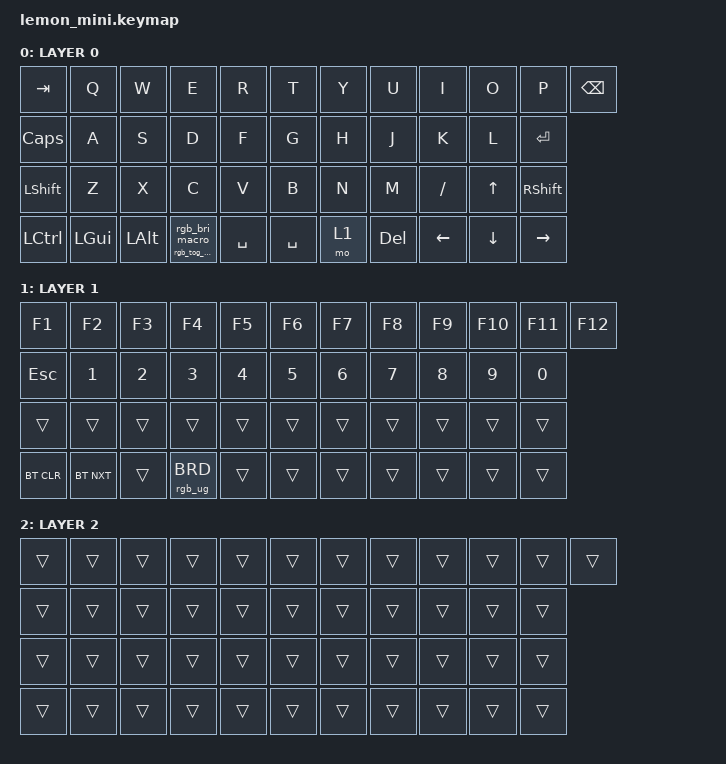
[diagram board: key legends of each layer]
/*
 * Copyright (c) 2020 The ZMK Contributors
 *
 * SPDX-License-Identifier: MIT
 */

#include <behaviors.dtsi>
#include <dt-bindings/zmk/bt.h>
#include <dt-bindings/zmk/keys.h>
#include <dt-bindings/zmk/rgb.h>

/ {
    macros {
        rgb_bri_macro: rgb_bri_macro {
            compatible = "zmk,behavior-macro";
            #binding-cells = <0>;
            bindings = <&rgb_ug RGB_BRI>;
            label = "RGB_BRI_MACRO";
        };

        rgb_tog_macro: rgb_tog_macro {
            compatible = "zmk,behavior-macro";
            #binding-cells = <0>;
            bindings = <&rgb_ug RGB_TOG>;
            label = "RGB_TOG_MACRO";
        };
    };

    behaviors {
        rgb_ht: rgb_ht {
            compatible = "zmk,behavior-hold-tap";
            label = "RGB_HT";
            bindings = <&rgb_tog_macro>, <&rgb_bri_macro>;

            #binding-cells = <2>;
            tapping-term-ms = <200>;
            flavor = "tap-preferred";
        };
    };

    keymap {
        compatible = "zmk,keymap";

        LAYER0 {
            bindings = <
&kp TAB    &kp Q     &kp W     &kp E        &kp R      &kp T      &kp Y  &kp U       &kp I     &kp O     &kp P      &kp BSPC
&kp CAPS   &kp A     &kp S     &kp D        &kp F      &kp G      &kp H  &kp J       &kp K     &kp L     &kp ENTER
&kp LSHFT  &kp Z     &kp X     &kp C        &kp V      &kp B      &kp N  &kp M       &kp FSLH  &kp UP    &kp RSHFT
&kp LCTRL  &kp LGUI  &kp LALT  &rgb_ht 0 0  &kp SPACE  &kp SPACE  &mo 1  &kp DELETE  &kp LEFT  &kp DOWN  &kp RIGHT
            >;

            display-name = "LAYER 0";
        };

        LAYER1 {
            bindings = <
&kp F1      &kp F2      &kp F3  &kp F4           &kp F5  &kp F6  &kp F7  &kp F8  &kp F9  &kp F10  &kp F11  &kp F12
&kp ESC     &kp N1      &kp N2  &kp N3           &kp N4  &kp N5  &kp N6  &kp N7  &kp N8  &kp N9   &kp N0
&trans      &trans      &trans  &trans           &trans  &trans  &trans  &trans  &trans  &trans   &trans
&bt BT_CLR  &bt BT_NXT  &trans  &rgb_ug RGB_BRD  &trans  &trans  &trans  &trans  &trans  &trans   &trans
            >;

            display-name = "LAYER 1";
        };

        LAYER2 {
            bindings = <
&trans  &trans  &trans  &trans  &trans  &trans  &trans  &trans  &trans  &trans  &trans  &trans
&trans  &trans  &trans  &trans  &trans  &trans  &trans  &trans  &trans  &trans  &trans
&trans  &trans  &trans  &trans  &trans  &trans  &trans  &trans  &trans  &trans  &trans
&trans  &trans  &trans  &trans  &trans  &trans  &trans  &trans  &trans  &trans  &trans
            >;

            display-name = "LAYER 2";
        };

        extra1 {
            status = "reserved";
            display-name = "LAYER 3";
        };

        extra2 {
            status = "reserved";
            display-name = "LAYER 4";
        };

        extra3 {
            status = "reserved";
            display-name = "LAYER 5";
        };

        extra4 {
            status = "reserved";
            display-name = "LAYER 6";
        };
    };
};
